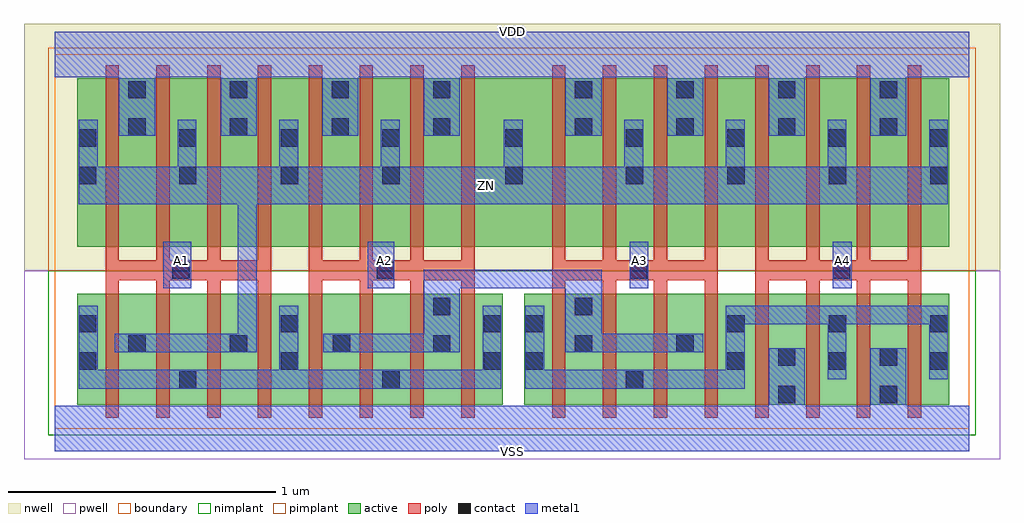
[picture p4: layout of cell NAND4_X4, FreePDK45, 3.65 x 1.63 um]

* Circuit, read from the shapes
.subckt NAND4_X4 A1 A2 A3 A4 VDD VSS ZN
M1 ZN A1 n1 VSUBS nfet w=0.415u l=0.05u m=4
M2 n2 A2 n1 VSUBS nfet w=0.415u l=0.05u m=4
M3 n2 A3 n3 VSUBS nfet w=0.415u l=0.05u m=4
M4 VSS A4 n3 VSUBS nfet w=0.415u l=0.05u m=4
M5 VDD A1 ZN n4 pfet w=0.63u l=0.05u m=4
M6 VDD A2 ZN n4 pfet w=0.63u l=0.05u m=4
M7 VDD A3 ZN n4 pfet w=0.63u l=0.05u m=4
M8 VDD A4 ZN n4 pfet w=0.63u l=0.05u m=4
.ends

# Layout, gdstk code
import gdstk
lib = gdstk.Library(unit=1e-6, precision=5e-10)
def R(c, l, rs):  # rectangles x0, y0, x1, y1
    for r in rs: c.add(gdstk.rectangle(r[:2], r[2:], *l))
def A(c, l, x, y, w, h, nx, ny, dx, dy):  # array of equal rectangles
    R(c, l, [(x+i*dx, y+j*dy, x+i*dx+w, y+j*dy+h) for i in range(nx) for j in range(ny)])
def P(c, l, *ps):  # polygons
    for p in ps: c.add(gdstk.Polygon(p, *l))
active = (1, 0)
pwell = (2, 0)
nwell = (3, 0)
nimplant = (4, 0)
pimplant = (5, 0)
poly = (9, 0)
contact = (10, 0)
metal1 = (11, 0)
boundary = (235, 0)

nand4_x4 = lib.new_cell('NAND4_X4')
R(nand4_x4, active, [(0.085,0.09,1.675,0.505), (1.755,0.09,3.345,0.505), (0.085,0.68,3.345,1.31)])
R(nand4_x4, pwell, [(-0.115,-0.115,3.535,0.59)])
R(nand4_x4, nwell, [(-0.115,0.59,3.535,1.515)])
R(nand4_x4, nimplant, [(-0.025,-0.025,3.445,0.59)])
R(nand4_x4, pimplant, [(-0.025,0.59,3.445,1.425)])
P(nand4_x4, poly, [(2.62,0.04),(2.67,0.04),(2.67,0.555),(2.81,0.555),(2.81,0.04),(2.86,0.04),(2.86,0.555),(3,0.555),(3,0.04),(3.05,0.04),(3.05,0.555),(3.19,0.555),(3.19,0.04),(3.24,0.04),(3.24,1.36),(3.19,1.36),(3.19,0.63),(3.05,0.63),(3.05,1.36),(3,1.36),(3,0.63),(2.86,0.63),(2.86,1.36),(2.81,1.36),(2.81,0.63),(2.67,0.63),(2.67,1.36),(2.62,1.36)],
  [(1.86,0.04),(1.91,0.04),(1.91,0.555),(2.05,0.555),(2.05,0.04),(2.1,0.04),(2.1,0.555),(2.24,0.555),(2.24,0.04),(2.29,0.04),(2.29,0.555),(2.43,0.555),(2.43,0.04),(2.48,0.04),(2.48,1.36),(2.43,1.36),(2.43,0.63),(2.29,0.63),(2.29,1.36),(2.24,1.36),(2.24,0.63),(2.1,0.63),(2.1,1.36),(2.05,1.36),(2.05,0.63),(1.91,0.63),(1.91,1.36),(1.86,1.36)],
  [(0.95,0.04),(1,0.04),(1,0.555),(1.14,0.555),(1.14,0.04),(1.19,0.04),(1.19,0.555),(1.33,0.555),(1.33,0.04),(1.38,0.04),(1.38,0.555),(1.52,0.555),(1.52,0.04),(1.57,0.04),(1.57,1.36),(1.52,1.36),(1.52,0.63),(1.38,0.63),(1.38,1.36),(1.33,1.36),(1.33,0.63),(1.19,0.63),(1.19,1.36),(1.14,1.36),(1.14,0.63),(1,0.63),(1,1.36),(0.95,1.36)],
  [(0.19,0.04),(0.24,0.04),(0.24,0.555),(0.38,0.555),(0.38,0.04),(0.43,0.04),(0.43,0.555),(0.57,0.555),(0.57,0.04),(0.62,0.04),(0.62,0.555),(0.76,0.555),(0.76,0.04),(0.81,0.04),(0.81,1.36),(0.76,1.36),(0.76,0.63),(0.62,0.63),(0.62,1.36),(0.57,1.36),(0.57,0.63),(0.43,0.63),(0.43,1.36),(0.38,1.36),(0.38,0.63),(0.24,0.63),(0.24,1.36),(0.19,1.36)])
A(nand4_x4, contact, 2.515, 0.22, 0.065, 0.065, 3, 2, 0.38, 0.14)
A(nand4_x4, contact, 0.465, 0.915, 0.065, 0.065, 3, 2, 0.38, 0.14)
A(nand4_x4, contact, 2.135, 0.915, 0.065, 0.065, 4, 2, 0.38, 0.14)
A(nand4_x4, contact, 0.275, 1.095, 0.065, 0.065, 4, 2, 0.38, 0.14)
A(nand4_x4, contact, 1.945, 1.095, 0.065, 0.065, 4, 2, 0.38, 0.14)
R(nand4_x4, contact, [(2.705,0.095,2.77,0.16), (3.085,0.095,3.15,0.16), (0.465,0.15,0.53,0.215), (1.225,0.15,1.29,0.215), (2.135,0.15,2.2,0.215), (0.09,0.22,0.155,0.285), (0.845,0.22,0.91,0.285), (1.605,0.22,1.67,0.285), (1.76,0.22,1.825,0.285), (2.705,0.235,2.77,0.3), (3.085,0.235,3.15,0.3), (0.275,0.285,0.34,0.35), (0.655,0.285,0.72,0.35), (1.04,0.285,1.105,0.35), (1.415,0.285,1.48,0.35), (1.945,0.285,2.01,0.35), (2.325,0.285,2.39,0.35), (0.09,0.36,0.155,0.425), (0.845,0.36,0.91,0.425), (1.605,0.36,1.67,0.425), (1.76,0.36,1.825,0.425), (1.415,0.425,1.48,0.49), (1.945,0.425,2.01,0.49), (0.44,0.56,0.505,0.625), (1.205,0.56,1.27,0.625), (2.15,0.56,2.215,0.625), (2.91,0.56,2.975,0.625), (0.09,0.915,0.155,0.98), (1.685,0.915,1.75,0.98), (0.09,1.055,0.155,1.12), (1.685,1.055,1.75,1.12)])
R(nand4_x4, metal1, [(0.405,0.525,0.51,0.7), (0.405,0.525,0.51,0.7), (1.17,0.525,1.27,0.7), (1.17,0.525,1.27,0.7), (2.15,0.525,2.22,0.7), (2.15,0.525,2.22,0.7), (2.91,0.525,2.98,0.7), (2.91,0.525,2.98,0.7)])
P(nand4_x4, metal1, [(0,-0.085),(3.42,-0.085),(3.42,0.085),(3.185,0.085),(3.185,0.3),(3.05,0.3),(3.05,0.085),(2.805,0.085),(2.805,0.3),(2.67,0.3),(2.67,0.085),(0,0.085)],
  [(0,1.315),(0.24,1.315),(0.24,1.095),(0.375,1.095),(0.375,1.315),(0.62,1.315),(0.62,1.095),(0.755,1.095),(0.755,1.315),(1,1.315),(1,1.095),(1.135,1.095),(1.135,1.315),(1.38,1.315),(1.38,1.095),(1.515,1.095),(1.515,1.315),(1.91,1.315),(1.91,1.095),(2.045,1.095),(2.045,1.315),(2.29,1.315),(2.29,1.095),(2.425,1.095),(2.425,1.315),(2.67,1.315),(2.67,1.095),(2.805,1.095),(2.805,1.315),(3.05,1.315),(3.05,1.095),(3.185,1.095),(3.185,1.315),(3.42,1.315),(3.42,1.485),(0,1.485)],
  [(0.09,0.84),(0.685,0.84),(0.685,0.355),(0.225,0.355),(0.225,0.285),(0.755,0.285),(0.755,0.84),(3.34,0.84),(3.34,1.155),(3.27,1.155),(3.27,0.98),(2.96,0.98),(2.96,1.155),(2.89,1.155),(2.89,0.98),(2.58,0.98),(2.58,1.155),(2.51,1.155),(2.51,0.98),(2.2,0.98),(2.2,1.155),(2.13,1.155),(2.13,0.98),(1.75,0.98),(1.75,1.155),(1.68,1.155),(1.68,0.98),(1.29,0.98),(1.29,1.155),(1.22,1.155),(1.22,0.98),(0.91,0.98),(0.91,1.155),(0.84,1.155),(0.84,0.98),(0.53,0.98),(0.53,1.155),(0.46,1.155),(0.46,0.98),(0.16,0.98),(0.16,1.155),(0.09,1.155)],
  [(0,1.315),(0.24,1.315),(0.24,1.095),(0.375,1.095),(0.375,1.315),(0.62,1.315),(0.62,1.095),(0.755,1.095),(0.755,1.315),(1,1.315),(1,1.095),(1.135,1.095),(1.135,1.315),(1.38,1.315),(1.38,1.095),(1.515,1.095),(1.515,1.315),(1.91,1.315),(1.91,1.095),(2.045,1.095),(2.045,1.315),(2.29,1.315),(2.29,1.095),(2.425,1.095),(2.425,1.315),(2.67,1.315),(2.67,1.095),(2.805,1.095),(2.805,1.315),(3.05,1.315),(3.05,1.095),(3.185,1.095),(3.185,1.315),(3.42,1.315),(3.42,1.485),(0,1.485)],
  [(0,-0.085),(3.42,-0.085),(3.42,0.085),(3.185,0.085),(3.185,0.3),(3.05,0.3),(3.05,0.085),(2.805,0.085),(2.805,0.3),(2.67,0.3),(2.67,0.085),(0,0.085)],
  [(0.09,0.84),(0.685,0.84),(0.685,0.355),(0.225,0.355),(0.225,0.285),(0.755,0.285),(0.755,0.84),(3.34,0.84),(3.34,1.155),(3.27,1.155),(3.27,0.98),(2.96,0.98),(2.96,1.155),(2.89,1.155),(2.89,0.98),(2.58,0.98),(2.58,1.155),(2.51,1.155),(2.51,0.98),(2.2,0.98),(2.2,1.155),(2.13,1.155),(2.13,0.98),(1.75,0.98),(1.75,1.155),(1.68,1.155),(1.68,0.98),(1.29,0.98),(1.29,1.155),(1.22,1.155),(1.22,0.98),(0.91,0.98),(0.91,1.155),(0.84,1.155),(0.84,0.98),(0.53,0.98),(0.53,1.155),(0.46,1.155),(0.46,0.98),(0.16,0.98),(0.16,1.155),(0.09,1.155)],
  [(1.76,0.15),(2.58,0.15),(2.58,0.39),(2.89,0.39),(2.89,0.185),(2.96,0.185),(2.96,0.39),(3.27,0.39),(3.27,0.185),(3.34,0.185),(3.34,0.46),(2.51,0.46),(2.51,0.22),(1.83,0.22),(1.83,0.46),(1.76,0.46)],
  [(1.005,0.285),(1.515,0.285),(1.515,0.525),(1.91,0.525),(1.91,0.285),(2.425,0.285),(2.425,0.355),(2.045,0.355),(2.045,0.595),(1.38,0.595),(1.38,0.355),(1.005,0.355)],
  [(0.09,0.15),(1.67,0.15),(1.67,0.46),(1.6,0.46),(1.6,0.22),(0.91,0.22),(0.91,0.46),(0.84,0.46),(0.84,0.22),(0.16,0.22),(0.16,0.46),(0.09,0.46)])
R(nand4_x4, boundary, [(0,0,3.42,1.4)])
nand4_x4.add(gdstk.Label('ZN', (1.615,0.91), layer=11, texttype=0))
nand4_x4.add(gdstk.Label('VSS', (1.71,-0.085), layer=11, texttype=0))
nand4_x4.add(gdstk.Label('VDD', (1.71,1.485), layer=11, texttype=0))
nand4_x4.add(gdstk.Label('A4', (2.945,0.63), layer=11, texttype=0))
nand4_x4.add(gdstk.Label('A3', (2.185,0.63), layer=11, texttype=0))
nand4_x4.add(gdstk.Label('A2', (1.235,0.63), layer=11, texttype=0))
nand4_x4.add(gdstk.Label('A1', (0.475,0.63), layer=11, texttype=0))

lib.write_gds('NAND4_X4.gds')
